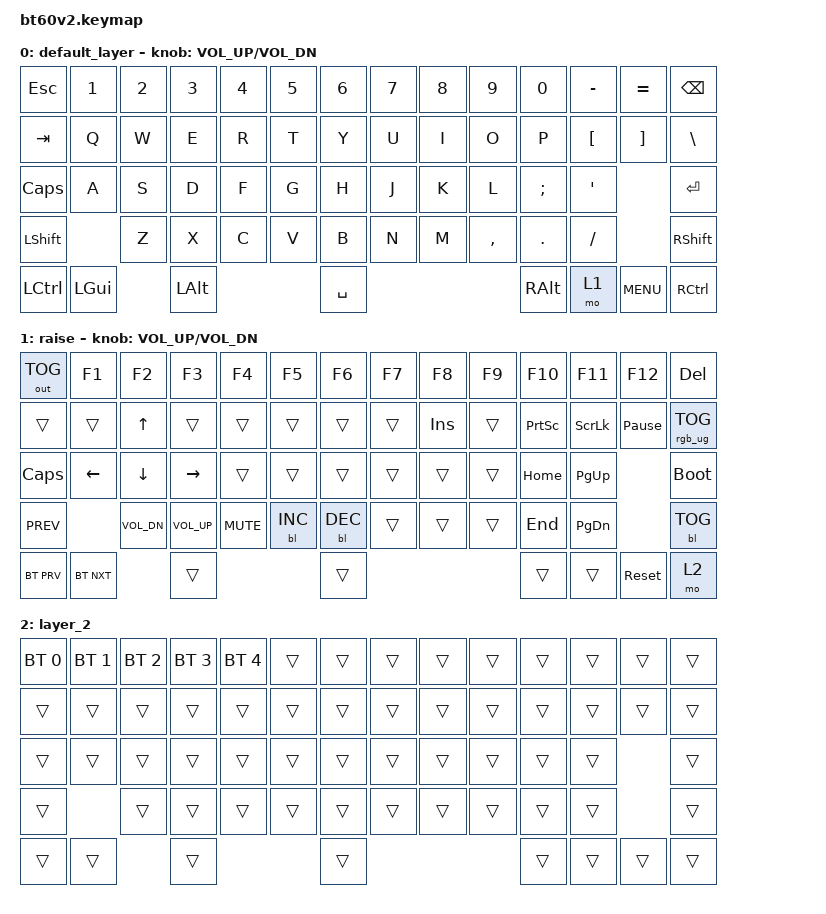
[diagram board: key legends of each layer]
#include <behaviors.dtsi>
#include <dt-bindings/zmk/backlight.h>
#include <dt-bindings/zmk/bt.h>
#include <dt-bindings/zmk/keys.h>
#include <dt-bindings/zmk/outputs.h>
#include <dt-bindings/zmk/rgb.h>

/ {
    keymap {
        compatible = "zmk,keymap";

        default_layer {
            // ------------------------------------------------------------------------------------------
            // |  `  |  1  |  2  |  3  |  4  |  5  |  6  |  7  |  8  |  9  |  0  |  -  |  =  |   BKSP
            // | TAB  |  Q  |  W  |  E  |  R  |  T  |  Y  |  U  |  I  |  O  |  P  |  [  |  ]  |   |
            // | CAPS  |  A  |  S  |  D  |  F  |  G  |  H  |  J  |  K  |  L  |  ;  |  '  |     ENTER
            // |  SHIFT    |  Z  |  X  |  C  |  V  |  B  |  N  |  M  |  ,  |  .  | /   |      SHIFT
            // |  CTL  |  WIN  |  ALT  |            SPACE               | ALT | 1    |  MENU    |  CTRL
            // ------------------------------------------------------------------------------------------

            bindings = <
&kp ESC    &kp N1    &kp N2  &kp N3    &kp N4  &kp N5  &kp N6     &kp N7  &kp N8  &kp N9     &kp N0    &kp MINUS  &kp EQUAL   &kp BSPC
&kp TAB    &kp Q     &kp W   &kp E     &kp R   &kp T   &kp Y      &kp U   &kp I   &kp O      &kp P     &kp LBKT   &kp RBKT    &kp BSLH
&kp CAPS   &kp A     &kp S   &kp D     &kp F   &kp G   &kp H      &kp J   &kp K   &kp L      &kp SEMI  &kp SQT                &kp RET
&kp LSHFT            &kp Z   &kp X     &kp C   &kp V   &kp B      &kp N   &kp M   &kp COMMA  &kp DOT   &kp FSLH               &kp RSHFT
&kp LCTRL  &kp LGUI          &kp LALT                  &kp SPACE                             &kp RALT  &mo 1      &kp C_MENU  &kp RCTRL
            >;

            sensor-bindings = <&inc_dec_kp C_VOL_UP C_VOL_DN>;
        };

        raise {
            bindings = <
&out OUT_TOG  &kp F1      &kp F2        &kp F3        &kp F4      &kp F5      &kp F6      &kp F7  &kp F8   &kp F9  &kp F10    &kp F11    &kp F12          &kp DEL
&trans        &trans      &kp UP        &trans        &trans      &trans      &trans      &trans  &kp INS  &trans  &kp PSCRN  &kp SLCK   &kp PAUSE_BREAK  &rgb_ug RGB_TOG
&kp CAPS      &kp LEFT    &kp DOWN      &kp RIGHT     &trans      &trans      &trans      &trans  &trans   &trans  &kp HOME   &kp PG_UP                   &bootloader
&kp C_PREV                &kp C_VOL_DN  &kp C_VOL_UP  &kp C_MUTE  &bl BL_INC  &bl BL_DEC  &trans  &trans   &trans  &kp END    &kp PG_DN                   &bl BL_TOG
&bt BT_PRV    &bt BT_NXT                &trans                                &trans                               &trans     &trans     &sys_reset       &mo 2
            >;

            sensor-bindings = <&inc_dec_kp C_VOL_UP C_VOL_DN>;
        };

        layer_2 {
            bindings = <
&bt BT_SEL 0  &bt BT_SEL 1  &bt BT_SEL 2  &bt BT_SEL 3  &bt BT_SEL 4  &trans  &trans  &trans  &trans  &trans  &trans  &trans  &trans  &trans
&trans        &trans        &trans        &trans        &trans        &trans  &trans  &trans  &trans  &trans  &trans  &trans  &trans  &trans
&trans        &trans        &trans        &trans        &trans        &trans  &trans  &trans  &trans  &trans  &trans  &trans          &trans
&trans                      &trans        &trans        &trans        &trans  &trans  &trans  &trans  &trans  &trans  &trans          &trans
&trans        &trans                      &trans                              &trans                          &trans  &trans  &trans  &trans
            >;
        };
    };
};
